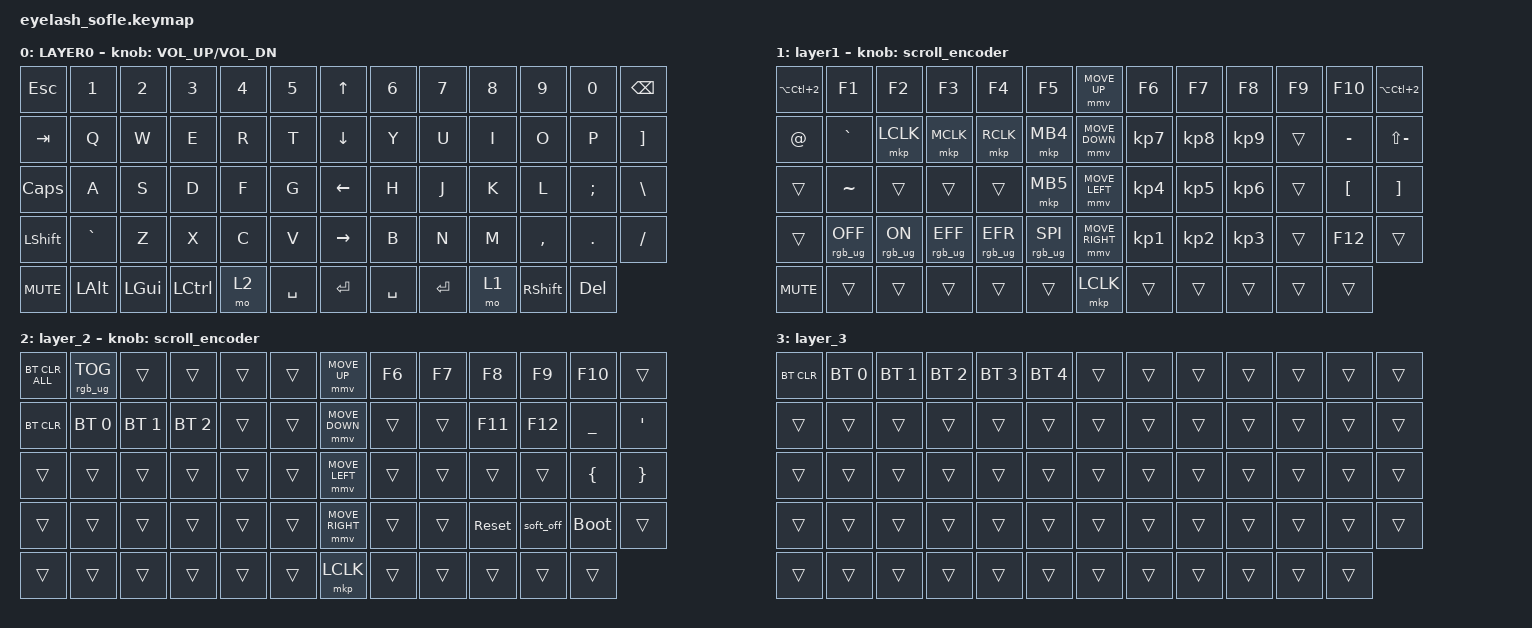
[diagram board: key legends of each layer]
#define ZMK_POINTING_DEFAULT_MOVE_VAL 1200  // 600
#define ZMK_POINTING_DEFAULT_SCRL_VAL 25   // 10

#include <input/processors.dtsi>
#include <zephyr/dt-bindings/input/input-event-codes.h>
#include <behaviors.dtsi>
#include <dt-bindings/zmk/bt.h>
#include <dt-bindings/zmk/keys.h>
#include <dt-bindings/zmk/pointing.h>
#include <dt-bindings/zmk/rgb.h>

&mmv_input_listener { input-processors = <&zip_xy_scaler 2 1>; };

&msc_input_listener { input-processors = <&zip_scroll_scaler 2 1>; };

&msc {
    acceleration-exponent = <1>;      // 0
    time-to-max-speed-ms = <100>;       // 300
    delay-ms = <0>;                   // 0
};

&mmv {
    time-to-max-speed-ms = <500>;
    acceleration-exponent = <1>;
    trigger-period-ms = <16>;
};

/ {
    scroll_encoder: scroll_encoder {
        compatible = "zmk,behavior-sensor-rotate";
        #sensor-binding-cells = <0>;
        bindings = <&msc SCRL_DOWN>, <&msc SCRL_UP>;

        tap-ms = <100>;
    };

    behaviors {
    };

    keymap {
        compatible = "zmk,keymap";

        layer0 {
            bindings = <
&kp ESC     &kp N1        &kp N2        &kp N3     &kp N4  &kp N5       &kp UP_ARROW     &kp N6     &kp N7     &kp N8  &kp N9           &kp N0      &kp BACKSPACE
&kp TAB     &kp Q         &kp W         &kp E      &kp R   &kp T        &kp DOWN_ARROW   &kp Y      &kp U      &kp I   &kp O            &kp P       &kp RIGHT_BRACKET
&kp CAPS    &kp A         &kp S         &kp D      &kp F   &kp G        &kp LEFT_ARROW   &kp H      &kp J      &kp K   &kp L            &kp SEMI    &kp BACKSLASH
&kp LSHFT   &kp GRAVE     &kp Z         &kp X      &kp C   &kp V        &kp RIGHT_ARROW  &kp B      &kp N      &kp M   &kp COMMA        &kp PERIOD  &kp SLASH
&kp C_MUTE  &kp LEFT_ALT  &kp LEFT_GUI  &kp LCTRL  &mo 2   &kp SPACE    &kp ENTER        &kp SPACE  &kp ENTER  &mo 1   &kp RIGHT_SHIFT  &kp DELETE
            >;

            sensor-bindings = <&inc_dec_kp C_VOLUME_UP C_VOL_DN>;
            display-name = "LAYER0";
        };

        layer_1 {
            bindings = <
&kp LA(LC(NUMBER_2))  &kp F1           &kp F2          &kp F3           &kp F4           &kp F5             &mmv MOVE_UP     &kp F6           &kp F7           &kp F8           &kp F9  &kp F10           &kp LA(LC(NUMBER_2))
&kp AT                &kp GRAVE        &mkp LCLK       &mkp MCLK        &mkp RCLK        &mkp MB4           &mmv MOVE_DOWN   &kp KP_NUMBER_7  &kp KP_NUMBER_8  &kp KP_NUMBER_9  &trans  &kp MINUS         &kp LS(MINUS)
&trans                &kp TILDE        &trans          &trans           &trans           &mkp MB5           &mmv MOVE_LEFT   &kp KP_NUMBER_4  &kp KP_NUMBER_5  &kp KP_NUMBER_6  &trans  &kp LEFT_BRACKET  &kp RIGHT_BRACKET
&trans                &rgb_ug RGB_OFF  &rgb_ug RGB_ON  &rgb_ug RGB_EFF  &rgb_ug RGB_EFR  &rgb_ug RGB_SPI    &mmv MOVE_RIGHT  &kp KP_NUMBER_1  &kp KP_NUMBER_2  &kp KP_NUMBER_3  &trans  &kp F12           &trans
&kp C_MUTE            &trans           &trans          &trans           &trans           &trans             &mkp LCLK        &trans           &trans           &trans           &trans  &trans
            >;

            display-name = "layer1";
            sensor-bindings = <&scroll_encoder>;
        };

        layer_2 {
            bindings = <
&bt BT_CLR_ALL  &rgb_ug RGB_TOG  &trans        &trans        &trans  &trans    &mmv MOVE_UP     &kp F6  &kp F7  &kp F8      &kp F9     &kp F10      &trans
&bt BT_CLR      &bt BT_SEL 0     &bt BT_SEL 1  &bt BT_SEL 2  &trans  &trans    &mmv MOVE_DOWN   &trans  &trans  &kp F11     &kp F12    &kp UNDER    &kp APOS
&trans          &trans           &trans        &trans        &trans  &trans    &mmv MOVE_LEFT   &trans  &trans  &trans      &trans     &kp LBRC     &kp RBRC
&trans          &trans           &trans        &trans        &trans  &trans    &mmv MOVE_RIGHT  &trans  &trans  &sys_reset  &soft_off  &bootloader  &trans
&trans          &trans           &trans        &trans        &trans  &trans    &mkp LCLK        &trans  &trans  &trans      &trans     &trans
            >;

            sensor-bindings = <&scroll_encoder>;
        };

        layer_3 {
            bindings = <
&bt BT_CLR  &bt BT_SEL 0  &bt BT_SEL 1  &bt BT_SEL 2  &bt BT_SEL 3  &bt BT_SEL 4    &trans  &trans  &trans  &trans  &trans  &trans  &trans
&trans      &trans        &trans        &trans        &trans        &trans          &trans  &trans  &trans  &trans  &trans  &trans  &trans
&trans      &trans        &trans        &trans        &trans        &trans          &trans  &trans  &trans  &trans  &trans  &trans  &trans
&trans      &trans        &trans        &trans        &trans        &trans          &trans  &trans  &trans  &trans  &trans  &trans  &trans
&trans      &trans        &trans        &trans        &trans        &trans          &trans  &trans  &trans  &trans  &trans  &trans
            >;
        };
    };
};
